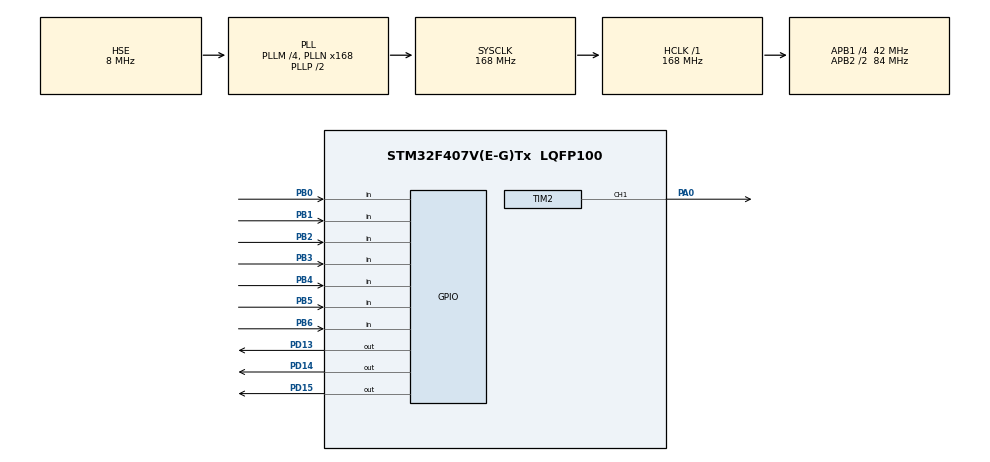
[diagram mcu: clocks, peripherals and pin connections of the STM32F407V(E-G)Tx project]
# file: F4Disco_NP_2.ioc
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Mcu.Family=STM32F4
Mcu.Name=STM32F407V(E-G)Tx
Mcu.Package=LQFP100
NVIC.PriorityGroup=NVIC_PRIORITYGROUP_4
NVIC.TIM4_IRQn=true\:0\:0\:false\:false\:true\:true\:true\:true
PA0-WKUP.Signal=S_TIM2_CH1_ETR
PA13.Mode=Serial_Wire
PA13.Signal=SYS_JTMS-SWDIO
PA14.Mode=Serial_Wire
PA14.Signal=SYS_JTCK-SWCLK
PB0.Signal=GPIO_Input
PB1.Signal=GPIO_Input
PB2.Signal=GPIO_Input
PB3.Signal=GPIO_Input
PB4.Signal=GPIO_Input
PB5.Signal=GPIO_Input
PB6.Signal=GPIO_Input
PD13.Signal=GPIO_Output
PD14.Signal=GPIO_Output
PD15.Signal=GPIO_Output
PH0-OSC_IN.Mode=HSE-External-Oscillator
PH0-OSC_IN.Signal=RCC_OSC_IN
PH1-OSC_OUT.Mode=HSE-External-Oscillator
PH1-OSC_OUT.Signal=RCC_OSC_OUT
ProjectManager.HeapSize=0x200
ProjectManager.StackSize=0x400
ProjectManager.TargetToolchain=STM32CubeIDE
RCC.48MHZClocksFreq_Value=84000000
RCC.AHBFreq_Value=168000000
RCC.APB1CLKDivider=RCC_HCLK_DIV4
RCC.APB1Freq_Value=42000000
RCC.APB1TimFreq_Value=84000000
RCC.APB2CLKDivider=RCC_HCLK_DIV2
RCC.APB2Freq_Value=84000000
RCC.APB2TimFreq_Value=168000000
RCC.CortexFreq_Value=168000000
RCC.HCLKFreq_Value=168000000
RCC.HSE_VALUE=8000000
RCC.HSI_VALUE=16000000
RCC.LSE_VALUE=32768
RCC.PLLM=4
RCC.PLLN=168
RCC.PLLSourceVirtual=RCC_PLLSOURCE_HSE
RCC.SYSCLKFreq_VALUE=168000000
RCC.SYSCLKSource=RCC_SYSCLKSOURCE_PLLCLK
RCC.VCOOutputFreq_Value=336000000
SH.S_TIM2_CH1_ETR.0=TIM2_CH1,PWM Generation1 CH1
TIM2.Channel-PWM\ Generation1\ CH1=TIM_CHANNEL_1
TIM2.Period=100
TIM2.Prescaler=200
TIM4.Period=839
VP_TIM2_VS_ClockSourceINT.Mode=Internal
VP_TIM3_VS_ClockSourceINT.Mode=Internal
VP_TIM4_VS_ClockSourceINT.Mode=Internal
board=custom

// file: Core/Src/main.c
/* USER CODE BEGIN Header */
/**
  ******************************************************************************
  * @file           : main.c
  * @brief          : Main program body
  ******************************************************************************
  * @attention
  *
  * Copyright (c) 2025 STMicroelectronics.
  * All rights reserved.
  *
  * This software is licensed under terms that can be found in the LICENSE file
  * in the root directory of this software component.
  * If no LICENSE file comes with this software, it is provided AS-IS.
  *
  ******************************************************************************
  */
/* USER CODE END Header */
#include "main.h"

/* USER CODE BEGIN Includes */
uint8_t counter_10us=0,counter_1ms=0,counter_100ms=0,counter_1s=0,counter_10s=0;
const uint16_t notes[] = { 261, 293, 329, 349, 392, 440, 493 };
uint8_t S0_switch=0,S1_switch=0,S2_switch=0,S3_switch=0,S4_switch=0,S5_switch=0,S6_switch=0;
uint8_t S0_Rep=0,S1_Rep=0,S2_Rep=0,S3_Rep=0,S4_Rep=0,S5_Rep=0,S6_Rep=0;
uint16_t S0_Count=0,S1_Count=0,S2_Count=0,S3_Count=0,S4_Count=0,S5_Count=0,S6_Count=0;
uint8_t tp0=0,tp1=0,tp2=0,tp3=0,tp4=0,tp5=0,tp6=0;

void HAL_TIM_PeriodElapsedCallback(TIM_HandleTypeDef *htim)
{
    if(htim->Instance == TIM4)
    {
    	counter_10us++;
        // TIM4 interrupt buraya düşer
    }
}
/* USER CODE END Includes */

TIM_HandleTypeDef htim2;
TIM_HandleTypeDef htim3;
TIM_HandleTypeDef htim4;

void SystemClock_Config(void);
static void MX_GPIO_Init(void);
static void MX_TIM2_Init(void);
static void MX_TIM3_Init(void);
static void MX_TIM4_Init(void);

int main(void)
{

  /* MCU Configuration--------------------------------------------------------*/

  /* Reset of all peripherals, Initializes the Flash interface and the Systick. */
  HAL_Init();

  /* Configure the system clock */
  SystemClock_Config();

  /* Initialize all configured peripherals */
  MX_GPIO_Init();
  MX_TIM2_Init();
  MX_TIM3_Init();
  MX_TIM4_Init();
  /* USER CODE BEGIN 2 */
  HAL_TIM_Base_Start_IT(&htim4);
  HAL_TIM_PWM_Start(&htim2, TIM_CHANNEL_1);
  //timer oluşturup buton okunacak
  //Buton durumuna göre
  /* USER CODE END 2 */

  /* Infinite loop */
  /* USER CODE BEGIN WHILE */
  while (1)
  {

	  if(counter_10us>99)//tim 100 us
	  	  {
	  		  counter_10us=0;
	  		  counter_1ms++;
	  	  }
	  	  if(counter_1ms>9)//tim 1ms
	  	  {
	  		  counter_1ms=0;
	  		  counter_100ms++;
	  		  button_read();
	  		  button_control();
	  	  }
	  	  if(counter_100ms>9)//tim 100ms
	  	  {
  			  counter_100ms=0;
  			  counter_1s++;

	  	  }
	  	  if(counter_1s>9)//tim 1 sec
		  {
  			  counter_10s++;
  			  counter_1s=0;

  		  }
	  	  if(counter_10s>9)
	  	  {
	  		  counter_10s=0;
	  	  }
	 //__HAL_TIM_SET_COMPARE(&htim2, TIM_CHANNEL_1, 20999/4);
	 //__HAL_TIM_SET_COMPARE(&htim2, TIM_CHANNEL_1, 6000);
    /* USER CODE END WHILE */

  }
}

void SystemClock_Config(void)
{
  RCC_OscInitTypeDef RCC_OscInitStruct = {0};
  RCC_ClkInitTypeDef RCC_ClkInitStruct = {0};

  /** Configure the main internal regulator output voltage
  */
  __HAL_RCC_PWR_CLK_ENABLE();
  __HAL_PWR_VOLTAGESCALING_CONFIG(PWR_REGULATOR_VOLTAGE_SCALE1);

  /** Initializes the RCC Oscillators according to the specified parameters
  * in the RCC_OscInitTypeDef structure.
  */
  RCC_OscInitStruct.OscillatorType = RCC_OSCILLATORTYPE_HSE;
  RCC_OscInitStruct.HSEState = RCC_HSE_ON;
  RCC_OscInitStruct.PLL.PLLState = RCC_PLL_ON;
  RCC_OscInitStruct.PLL.PLLSource = RCC_PLLSOURCE_HSE;
  RCC_OscInitStruct.PLL.PLLM = 4;
  RCC_OscInitStruct.PLL.PLLN = 168;
  RCC_OscInitStruct.PLL.PLLP = RCC_PLLP_DIV2;
  RCC_OscInitStruct.PLL.PLLQ = 4;
  if (HAL_RCC_OscConfig(&RCC_OscInitStruct) != HAL_OK)
  {
    Error_Handler();
  }

  /** Initializes the CPU, AHB and APB buses clocks
  */
  RCC_ClkInitStruct.ClockType = RCC_CLOCKTYPE_HCLK|RCC_CLOCKTYPE_SYSCLK
                              |RCC_CLOCKTYPE_PCLK1|RCC_CLOCKTYPE_PCLK2;
  RCC_ClkInitStruct.SYSCLKSource = RCC_SYSCLKSOURCE_PLLCLK;
  RCC_ClkInitStruct.AHBCLKDivider = RCC_SYSCLK_DIV1;
  RCC_ClkInitStruct.APB1CLKDivider = RCC_HCLK_DIV4;
  RCC_ClkInitStruct.APB2CLKDivider = RCC_HCLK_DIV2;

  if (HAL_RCC_ClockConfig(&RCC_ClkInitStruct, FLASH_LATENCY_5) != HAL_OK)
  {
    Error_Handler();
  }
}

static void MX_TIM2_Init(void)
{

  TIM_ClockConfigTypeDef sClockSourceConfig = {0};
  TIM_MasterConfigTypeDef sMasterConfig = {0};
  TIM_OC_InitTypeDef sConfigOC = {0};

  htim2.Instance = TIM2;
  htim2.Init.Prescaler = 200;
  htim2.Init.CounterMode = TIM_COUNTERMODE_UP;
  htim2.Init.Period = 100;
  htim2.Init.ClockDivision = TIM_CLOCKDIVISION_DIV1;
  htim2.Init.AutoReloadPreload = TIM_AUTORELOAD_PRELOAD_DISABLE;
  if (HAL_TIM_Base_Init(&htim2) != HAL_OK)
  {
    Error_Handler();
  }
  sClockSourceConfig.ClockSource = TIM_CLOCKSOURCE_INTERNAL;
  if (HAL_TIM_ConfigClockSource(&htim2, &sClockSourceConfig) != HAL_OK)
  {
    Error_Handler();
  }
  if (HAL_TIM_PWM_Init(&htim2) != HAL_OK)
  {
    Error_Handler();
  }
  sMasterConfig.MasterOutputTrigger = TIM_TRGO_RESET;
  sMasterConfig.MasterSlaveMode = TIM_MASTERSLAVEMODE_DISABLE;
  if (HAL_TIMEx_MasterConfigSynchronization(&htim2, &sMasterConfig) != HAL_OK)
  {
    Error_Handler();
  }
  sConfigOC.OCMode = TIM_OCMODE_PWM1;
  sConfigOC.Pulse = 0;
  sConfigOC.OCPolarity = TIM_OCPOLARITY_HIGH;
  sConfigOC.OCFastMode = TIM_OCFAST_DISABLE;
  if (HAL_TIM_PWM_ConfigChannel(&htim2, &sConfigOC, TIM_CHANNEL_1) != HAL_OK)
  {
    Error_Handler();
  }
  HAL_TIM_MspPostInit(&htim2);

}

static void MX_TIM3_Init(void)
{

  TIM_ClockConfigTypeDef sClockSourceConfig = {0};
  TIM_MasterConfigTypeDef sMasterConfig = {0};

  htim3.Instance = TIM3;
  htim3.Init.Prescaler = 0;
  htim3.Init.CounterMode = TIM_COUNTERMODE_UP;
  htim3.Init.Period = 65535;
  htim3.Init.ClockDivision = TIM_CLOCKDIVISION_DIV1;
  htim3.Init.AutoReloadPreload = TIM_AUTORELOAD_PRELOAD_DISABLE;
  if (HAL_TIM_Base_Init(&htim3) != HAL_OK)
  {
    Error_Handler();
  }
  sClockSourceConfig.ClockSource = TIM_CLOCKSOURCE_INTERNAL;
  if (HAL_TIM_ConfigClockSource(&htim3, &sClockSourceConfig) != HAL_OK)
  {
    Error_Handler();
  }
  sMasterConfig.MasterOutputTrigger = TIM_TRGO_RESET;
  sMasterConfig.MasterSlaveMode = TIM_MASTERSLAVEMODE_DISABLE;
  if (HAL_TIMEx_MasterConfigSynchronization(&htim3, &sMasterConfig) != HAL_OK)
  {
    Error_Handler();
  }

}

static void MX_TIM4_Init(void)
{

  TIM_ClockConfigTypeDef sClockSourceConfig = {0};
  TIM_MasterConfigTypeDef sMasterConfig = {0};

  htim4.Instance = TIM4;
  htim4.Init.Prescaler = 0;
  htim4.Init.CounterMode = TIM_COUNTERMODE_UP;
  htim4.Init.Period = 839;
  htim4.Init.ClockDivision = TIM_CLOCKDIVISION_DIV1;
  htim4.Init.AutoReloadPreload = TIM_AUTORELOAD_PRELOAD_DISABLE;
  if (HAL_TIM_Base_Init(&htim4) != HAL_OK)
  {
    Error_Handler();
  }
  sClockSourceConfig.ClockSource = TIM_CLOCKSOURCE_INTERNAL;
  if (HAL_TIM_ConfigClockSource(&htim4, &sClockSourceConfig) != HAL_OK)
  {
    Error_Handler();
  }
  sMasterConfig.MasterOutputTrigger = TIM_TRGO_RESET;
  sMasterConfig.MasterSlaveMode = TIM_MASTERSLAVEMODE_DISABLE;
  if (HAL_TIMEx_MasterConfigSynchronization(&htim4, &sMasterConfig) != HAL_OK)
  {
    Error_Handler();
  }

}

static void MX_GPIO_Init(void)
{
  GPIO_InitTypeDef GPIO_InitStruct = {0};

  /* GPIO Ports Clock Enable */
  __HAL_RCC_GPIOH_CLK_ENABLE();
  __HAL_RCC_GPIOA_CLK_ENABLE();
  __HAL_RCC_GPIOB_CLK_ENABLE();
  __HAL_RCC_GPIOD_CLK_ENABLE();

  /*Configure GPIO pin Output Level */
  HAL_GPIO_WritePin(GPIOD, GPIO_PIN_13|GPIO_PIN_14|GPIO_PIN_15, GPIO_PIN_RESET);

  /*Configure GPIO pins : PB0 PB1 PB2 PB3
                           PB4 PB5 PB6 */
  GPIO_InitStruct.Pin = GPIO_PIN_0|GPIO_PIN_1|GPIO_PIN_2|GPIO_PIN_3
                          |GPIO_PIN_4|GPIO_PIN_5|GPIO_PIN_6;
  GPIO_InitStruct.Mode = GPIO_MODE_INPUT;
  GPIO_InitStruct.Pull = GPIO_NOPULL;
  HAL_GPIO_Init(GPIOB, &GPIO_InitStruct);

  /*Configure GPIO pins : PD13 PD14 PD15 */
  GPIO_InitStruct.Pin = GPIO_PIN_13|GPIO_PIN_14|GPIO_PIN_15;
  GPIO_InitStruct.Mode = GPIO_MODE_OUTPUT_PP;
  GPIO_InitStruct.Pull = GPIO_NOPULL;
  GPIO_InitStruct.Speed = GPIO_SPEED_FREQ_LOW;
  HAL_GPIO_Init(GPIOD, &GPIO_InitStruct);

}

void Error_Handler(void)
{
  __disable_irq();
  while (1)
  {
  }
}
